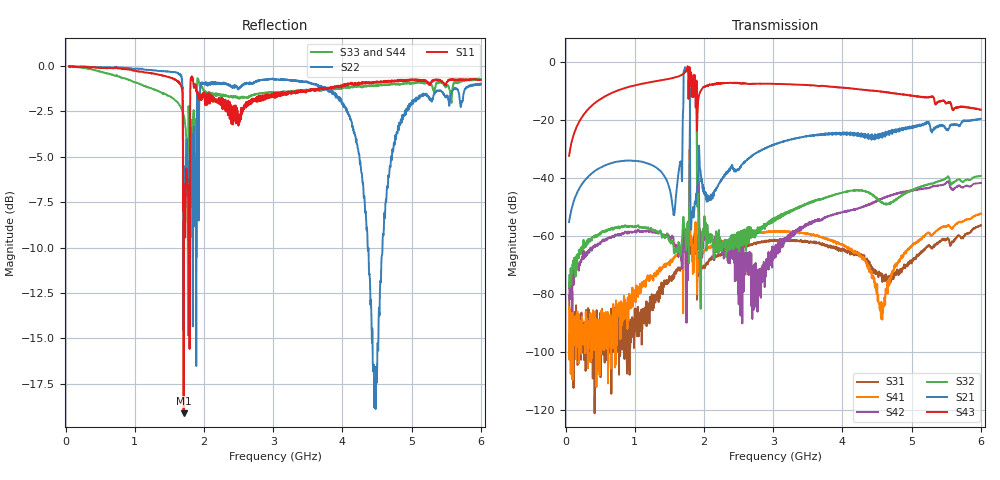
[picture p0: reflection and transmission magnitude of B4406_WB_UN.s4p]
! Matrix data file written by TouchstoneData, EPCOS AG
! FILENAME: "ptable_B4406_02_WB.s4p"
! COMMENT: "(B4406_02_WB.s4p) Epcos AG 1/21/2013 4:23:00"
! INFO: nport=4, nfreq=1601
! DATE: "Wed Feb 13 20:40:10 2013"
! USER: "Michael Schemies"
! port | pin | signal
!  1  |  3  |  Tx
!  2  |  6  |  Ant
!  3  |  8  |  Rx
!  4  |  1  |  Rx
# MHZ S RI R 50
! freq  reS11 imS11  reS12 imS12  reS13 imS13  reS14 imS14  ...
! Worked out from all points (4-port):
!   1601 points, 50 MHz to 6 GHz, reference 50 ohm
!   strongest paths, dB at 50 MHz, 1.538 GHz, 3.025 GHz, 4.513 GHz, 6 GHz:
!     S43: -32.5, -5.7, -7.7, -10.3, -16.6
!     S21: -55.4, -48.4, -28.5, -25.3, -19.7
!     S32: -73.7, -61.6, -54.4, -47.6, -39.5
!     S42: -77.1, -60.0, -64.7, -47.9, -41.9
!     S41: -84.6, -68.6, -58.6, -80.8, -52.4
!     S31: -80.6, -74.4, -61.7, -73.3, -56.4
!   lowest |S11| = -19.1 dB at 1.705 GHz (marker M1), VSWR 1.25, Z = 44.3 - j8.76 ohm
!   |S11| at or under -10 dB: 1.702166 GHz to 1.708096 GHz (5.929 MHz wide, 0.348 % of centre); 1.777418 GHz to 1.786017 GHz (8.599 MHz wide, 0.483 % of centre); 1.787001 GHz to 1.794383 GHz (7.382 MHz wide, 0.412 % of centre)
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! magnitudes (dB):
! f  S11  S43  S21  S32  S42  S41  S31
! 50 MHz  0.0  -32.5  -55.4  -73.7  -77.1  -84.6  -80.6
! 1.564 GHz  -0.7  -5.6  -52.4  -65.6  -62.5  -67.5  -73.1
! 1.705 GHz  -19.1  -4.2  -3.7  -55.0  -61.0  -59.5  -56.2
! 1.842 GHz  -0.9  -12.3  -50.1  -6.6  -5.7  -63.7  -61.2
! 1.95 GHz  -1.6  -10.1  -37.9  -85.2  -61.3  -67.4  -71.9
! 2.742 GHz  -1.8  -7.7  -31.7  -59.8  -82.2  -59.1  -62.8
! 6 GHz  -0.8  -16.6  -19.7  -39.5  -41.9  -52.4  -56.4
